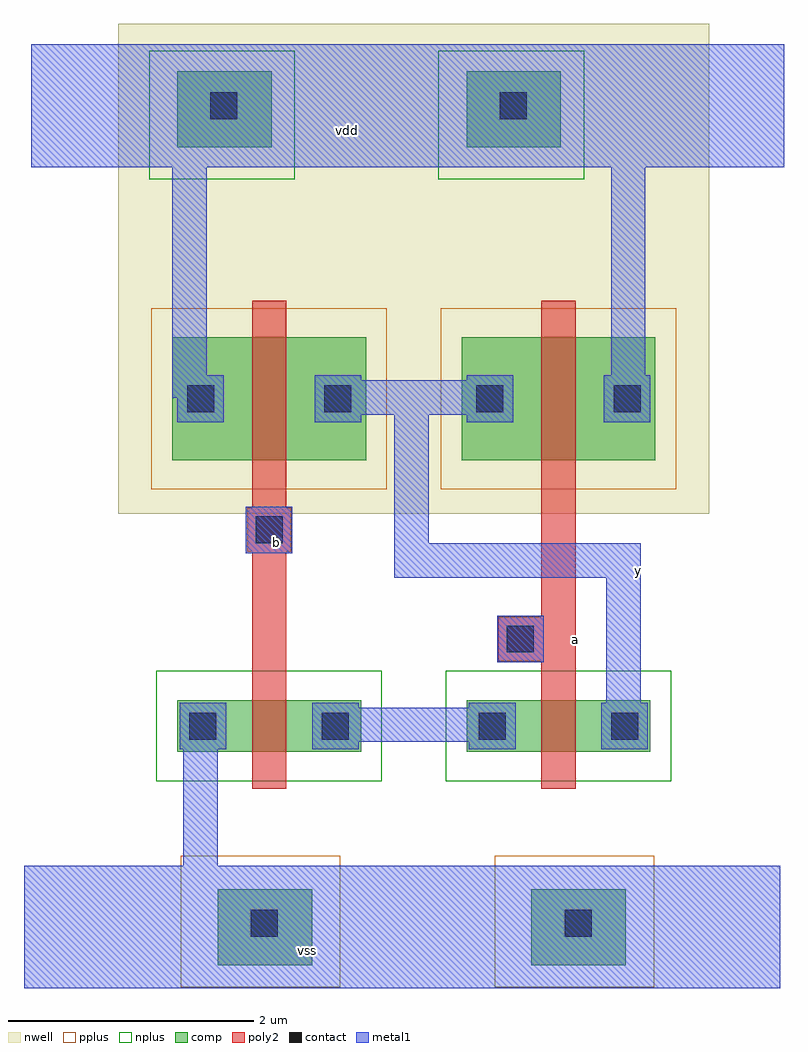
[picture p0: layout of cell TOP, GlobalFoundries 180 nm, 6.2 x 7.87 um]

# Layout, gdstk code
import gdstk
lib = gdstk.Library(unit=1e-6, precision=1e-08)
def R(c, l, rs):  # rectangles x0, y0, x1, y1
    for r in rs: c.add(gdstk.rectangle(r[:2], r[2:], *l))
nwell = (21, 0)
comp = (22, 0)
poly2 = (30, 0)
pplus = (31, 0)
nplus = (32, 0)
contact = (33, 0)
metal1 = (34, 0)

top = lib.new_cell('TOP')
R(top, nwell, [(-0.23,2.83,2.23,4.71), (2.13,2.83,4.59,4.71), (-0.23,4.41,2.23,6.83), (2.13,4.41,4.59,6.83)])
R(top, comp, [(0.58,-0.85,1.35,-0.23), (3.14,-0.85,3.91,-0.23), (0.25,0.89,0.67,1.31), (0.67,0.89,1.33,1.31), (1.33,0.89,1.75,1.31), (2.61,0.89,3.03,1.31), (3.03,0.89,3.69,1.31), (3.69,0.89,4.11,1.31), (0.21,3.27,0.67,4.27), (0.67,3.27,1.33,4.27), (1.33,3.27,1.79,4.27), (2.57,3.27,3.03,4.27), (3.03,3.27,3.69,4.27), (3.69,3.27,4.15,4.27), (0.25,5.82,1.02,6.44), (2.61,5.82,3.38,6.44)])
R(top, poly2, [(0.86,0.59,1.14,1.61), (3.22,0.59,3.5,1.61), (3.22,1.34,3.5,3.01), (0.86,1.53,1.14,2.97), (2.87,1.63,3.23,1.99), (0.82,2.52,1.18,2.88), (0.86,2.97,1.14,4.57), (3.22,2.97,3.5,4.57)])
R(top, pplus, [(0.28,-1.03,1.58,0.04), (2.84,-1.03,4.14,0.04), (0.04,3.03,1.96,4.51), (2.4,3.03,4.32,4.51)])
R(top, nplus, [(0.08,0.65,1.92,1.55), (2.44,0.65,4.28,1.55), (0.02,5.56,1.21,6.61), (2.38,5.56,3.57,6.61)])
R(top, contact, [(0.85,-0.62,1.07,-0.4), (3.41,-0.62,3.63,-0.4), (0.35,0.99,0.57,1.21), (1.43,0.99,1.65,1.21), (2.71,0.99,2.93,1.21), (3.79,0.99,4.01,1.21), (2.94,1.7,3.16,1.92), (0.89,2.59,1.11,2.81), (0.33,3.66,0.55,3.88), (1.45,3.66,1.67,3.88), (2.69,3.66,2.91,3.88), (3.81,3.66,4.03,3.88), (0.52,6.05,0.74,6.27), (2.88,6.05,3.1,6.27)])
R(top, metal1, [(0.27,0.91,0.65,1.29), (1.35,0.91,1.73,1.29), (2.63,0.91,3.01,1.29), (3.71,0.91,4.09,1.29), (2.86,1.62,3.24,2), (0.81,2.51,1.19,2.89), (0.25,3.58,0.63,3.96), (1.37,3.58,1.75,3.96), (2.61,3.58,2.99,3.96), (3.73,3.58,4.11,3.96)])
top.add(gdstk.FlexPath([(-0.94,6.16),(5.2,6.16)], 1, ends="flush", simple_path=True, layer=34, datatype=0))  # metal1
top.add(gdstk.FlexPath([(-1,-0.54),(5.17,-0.54)], 1, ends="flush", simple_path=True, layer=34, datatype=0))  # metal1
top.add(gdstk.FlexPath([(0.35,3.78),(0.35,5.75)], 0.28, ends="flush", simple_path=True, layer=34, datatype=0))  # metal1
top.add(gdstk.FlexPath([(3.93,3.79),(3.93,5.93)], 0.28, ends="flush", simple_path=True, layer=34, datatype=0))  # metal1
top.add(gdstk.FlexPath([(0.44,1.09),(0.44,-0.55),(0.44,-0.55)], 0.28, ends="flush", simple_path=True, layer=34, datatype=0))  # metal1
top.add(gdstk.FlexPath([(1.49,1.11),(2.89,1.11)], 0.28, ends="flush", simple_path=True, layer=34, datatype=0))  # metal1
top.add(gdstk.FlexPath([(3.89,1.12),(3.89,2.45),(2.16,2.45),(2.16,3.77)], 0.28, ends="flush", simple_path=True, layer=34, datatype=0))  # metal1
top.add(gdstk.FlexPath([(1.56,3.78),(2.78,3.78)], 0.28, ends="flush", simple_path=True, layer=34, datatype=0))  # metal1
top.add(gdstk.Label('vss', (1.31,-0.73), layer=34, texttype=10))
top.add(gdstk.Label('y', (4.01,2.37), layer=34, texttype=10))
top.add(gdstk.Label('b', (1.06,2.6), layer=34, texttype=10))
top.add(gdstk.Label('a', (3.5,1.81), layer=34, texttype=10))
top.add(gdstk.Label('vdd', (1.64,5.96), layer=34, texttype=10))

lib.write_gds('TOP.gds')
